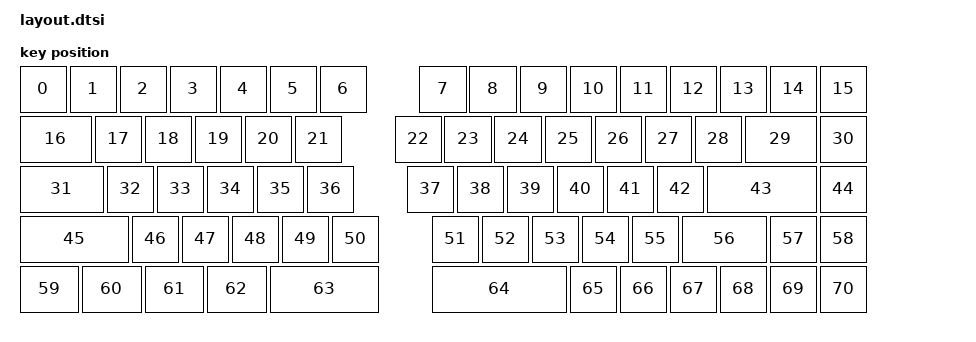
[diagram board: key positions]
#include "physical_layouts.dtsi"

/ {
  split_65_split_bs_layout: split_65_split_bs_layout {
    compatible = "zmk,physical-layout";
    display-name = "65% Layout (Split Backspace)";
    keys  //                     w   h    x    y     rot    rx    ry
      // ROW 1  (left)
      = <&key_physical_attrs   100 100    0    0       0     0     0> // ESC
      , <&key_physical_attrs   100 100  100    0       0     0     0> // 1
      , <&key_physical_attrs   100 100  200    0       0     0     0> // 2
      , <&key_physical_attrs   100 100  300    0       0     0     0> // 3
      , <&key_physical_attrs   100 100  400    0       0     0     0> // 4
      , <&key_physical_attrs   100 100  500    0       0     0     0> // 5
      , <&key_physical_attrs   100 100  600    0       0     0     0> // 6
      //        (right)
      , <&key_physical_attrs   100 100  800    0       0     0     0> // 7
      , <&key_physical_attrs   100 100  900    0       0     0     0> // 8
      , <&key_physical_attrs   100 100 1000    0       0     0     0> // 9
      , <&key_physical_attrs   100 100 1100    0       0     0     0> // 0
      , <&key_physical_attrs   100 100 1200    0       0     0     0> // - _
      , <&key_physical_attrs   100 100 1300    0       0     0     0> // = +
      , <&key_physical_attrs   100 100 1400    0       0     0     0> // BS
      , <&key_physical_attrs   100 100 1500    0       0     0     0> // # ~
      , <&key_physical_attrs   100 100 1600    0       0     0     0> // HOME
      // ROW 2  (left)
      , <&key_physical_attrs   150 100    0  100       0     0     0> // TAB
      , <&key_physical_attrs   100 100  150  100       0     0     0> // Q
      , <&key_physical_attrs   100 100  250  100       0     0     0> // W
      , <&key_physical_attrs   100 100  350  100       0     0     0> // E
      , <&key_physical_attrs   100 100  450  100       0     0     0> // R
      , <&key_physical_attrs   100 100  550  100       0     0     0> // T
      //        (right)
      , <&key_physical_attrs   100 100  750  100       0     0     0> // Y
      , <&key_physical_attrs   100 100  850  100       0     0     0> // U
      , <&key_physical_attrs   100 100  950  100       0     0     0> // I
      , <&key_physical_attrs   100 100 1050  100       0     0     0> // O
      , <&key_physical_attrs   100 100 1150  100       0     0     0> // P
      , <&key_physical_attrs   100 100 1250  100       0     0     0> // [
      , <&key_physical_attrs   100 100 1350  100       0     0     0> // ]
      , <&key_physical_attrs   150 100 1450  100       0     0     0> // \ |
      , <&key_physical_attrs   100 100 1600  100       0     0     0> // END
      // ROW 3  (left)
      , <&key_physical_attrs   175 100    0  200       0     0     0> // CAPS
      , <&key_physical_attrs   100 100  175  200       0     0     0> // A
      , <&key_physical_attrs   100 100  275  200       0     0     0> // S
      , <&key_physical_attrs   100 100  375  200       0     0     0> // D
      , <&key_physical_attrs   100 100  475  200       0     0     0> // F
      , <&key_physical_attrs   100 100  575  200       0     0     0> // G
      //        (right)
      , <&key_physical_attrs   100 100  775  200       0     0     0> // H
      , <&key_physical_attrs   100 100  875  200       0     0     0> // J
      , <&key_physical_attrs   100 100  975  200       0     0     0> // K
      , <&key_physical_attrs   100 100 1075  200       0     0     0> // L
      , <&key_physical_attrs   100 100 1175  200       0     0     0> // ; :
      , <&key_physical_attrs   100 100 1275  200       0     0     0> // ' "
      , <&key_physical_attrs   225 100 1375  200       0     0     0> // ENTER
      , <&key_physical_attrs   100 100 1600  200       0     0     0> // PGUP
      // ROW 4  (left)
      , <&key_physical_attrs   225 100    0  300       0     0     0> // SHIFT
      , <&key_physical_attrs   100 100  225  300       0     0     0> // Z
      , <&key_physical_attrs   100 100  325  300       0     0     0> // X
      , <&key_physical_attrs   100 100  425  300       0     0     0> // C
      , <&key_physical_attrs   100 100  525  300       0     0     0> // V
      , <&key_physical_attrs   100 100  625  300       0     0     0> // B
      //        (right)
      , <&key_physical_attrs   100 100  825  300       0     0     0> // N
      , <&key_physical_attrs   100 100  925  300       0     0     0> // M
      , <&key_physical_attrs   100 100 1025  300       0     0     0> // , <
      , <&key_physical_attrs   100 100 1125  300       0     0     0> // . >
      , <&key_physical_attrs   100 100 1225  300       0     0     0> // / ?
      , <&key_physical_attrs   175 100 1325  300       0     0     0> // SHIFT
      , <&key_physical_attrs   100 100 1500  300       0     0     0> // UP
      , <&key_physical_attrs   100 100 1600  300       0     0     0> // PGDN
      // ROW 5  (left)
      , <&key_physical_attrs   125 100    0  400       0     0     0> // CTRL
      , <&key_physical_attrs   125 100  125  400       0     0     0> // WIN
      , <&key_physical_attrs   125 100  250  400       0     0     0> // ALT
      , <&key_physical_attrs   125 100  375  400       0     0     0> // FN
      , <&key_physical_attrs   225 100  500  400       0     0     0> // SPACE
      //        (right)
      , <&key_physical_attrs   275 100  825  400       0     0     0> // SPACE
      , <&key_physical_attrs   100 100 1100  400       0     0     0> // WIN
      , <&key_physical_attrs   100 100 1200  400       0     0     0> // ALT
      , <&key_physical_attrs   100 100 1300  400       0     0     0> // CTRL
      , <&key_physical_attrs   100 100 1400  400       0     0     0> // LEFT
      , <&key_physical_attrs   100 100 1500  400       0     0     0> // DOWN
      , <&key_physical_attrs   100 100 1600  400       0     0     0> // RIGHT
      ;
  };
};

// vim: ft=dts sw=2 ts=2 et:
